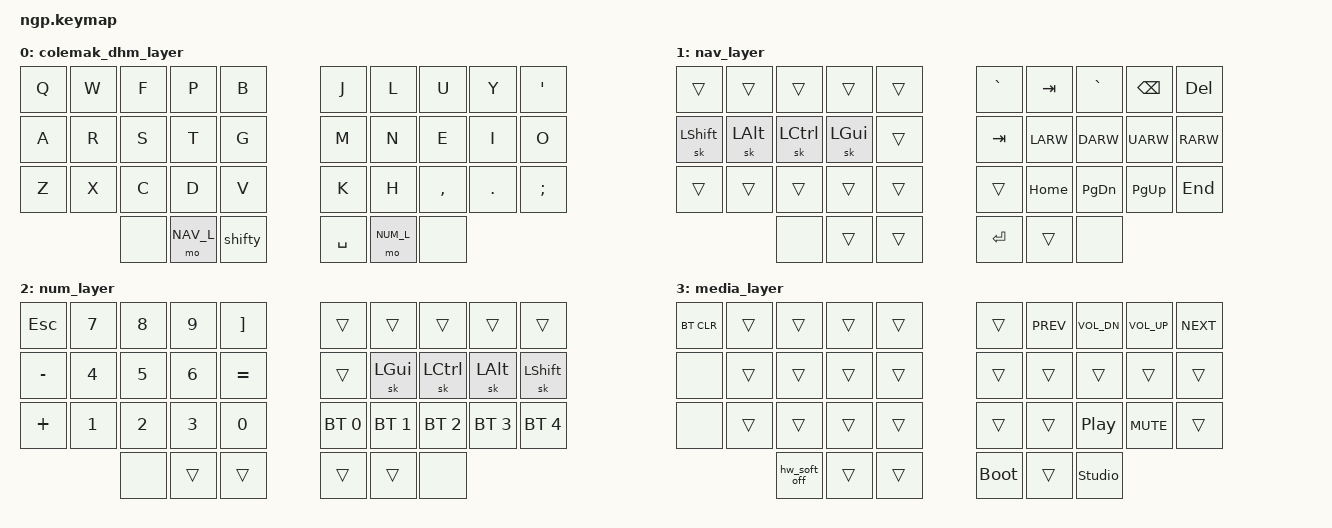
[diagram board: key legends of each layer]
#include <behaviors.dtsi>
#include <dt-bindings/zmk/keys.h>
#include <dt-bindings/zmk/bt.h>
#include <dt-bindings/zmk/backlight.h>

#define NAV_L 1
#define NUM_L 2
#define MED_L 3
#define FUN_L 4

/ {
    behaviors {
        hw_soft_off: hw_soft_off {
            compatible = "zmk,behavior-soft-off";
            #binding-cells = <0>;
            hold-time-ms = <5000>;
        };
    };
    tap_dances {
    	shifty: shift_caps_word {
		compatible = "zmk,behavior-tap-dance";
		#binding-cells = <0>;
		tapping-term-ms = <150>;
		bindings = <&kp LSHFT>, <&caps_word>;
	};
    };

    cond_layers {
        compatible = "zmk,conditional-layers";
	tri {
	    if-layers = <NUM_L NAV_L>;
	    then-layer = <MED_L>;
        };
    };

    combos {
        compatible = "zmk,combos";

	l_curly_bracket {
	    timeout-ms = <50>;
            key-positions = <2 14>;
            bindings = <&kp LS(LBKT)>;
	    layers = <NUM_L>;
	};

	r_curly_bracket {
	    timeout-ms = <50>;
            key-positions = <4 16>;
            bindings = <&kp LS(RBKT)>;
	    layers = <NUM_L>;
	};

	lbracket {
	    timeout-ms = <50>;
            key-positions = <14 26>;
            bindings = <&kp LBKT>;
	    layers = <NUM_L>;
	};

	rbracket {
	    timeout-ms = <50>;
            key-positions = <16 28>;
            bindings = <&kp RBKT>;
	    layers = <NUM_L>;
	};

	ques_mark_combo {
	    timeout-ms = <50>;
            key-positions = <21 33>;
            bindings = <&kp LS(FSLH)>;
	};

	bslash_combo {
	    timeout-ms = <50>;
            key-positions = <10 22>;
            bindings = <&kp BSLH>;
	};

	fslash_combo {
	    timeout-ms = <50>;
            key-positions = <22 34>;
            bindings = <&kp FSLH>;
	};

	bootloader_combo {
	    timeout-ms = <50>;
            key-positions = <5 6>;
            bindings = <&bootloader>;
	    layers = <MED_L>;
	};

	gui_combo {
	    timeout-ms = <50>;
            key-positions = <16 19>;
            bindings = <&kp LGUI>;
	    layers = <MED_L>;
	};
    };

    keymap {
        compatible = "zmk,keymap";

        colemak_dhm_layer {
            bindings = <
        &kp Q      &kp W      &kp F       &kp P          &kp B         &kp J            &kp L          &kp U       &kp Y      &kp QUOT
        &kp A      &kp R      &kp S       &kp T          &kp G         &kp M            &kp N          &kp E       &kp I      &kp O   
        &kp Z      &kp X      &kp C       &kp D          &kp V         &kp K            &kp H          &kp COMMA   &kp DOT    &kp SEMI     
                              &none       &mo NAV_L      &shifty      &kp SPACE        &mo NUM_L &none
            >;
        };

        nav_layer {
            bindings = <
        &trans     &trans     &trans      &trans          &trans       &kp GRAVE        &kp TAB        &kp GRAVE   &kp BKSP   &kp DEL
        &sk LSHFT  &sk LALT   &sk LCTRL   &sk LGUI        &trans       &kp TAB          &kp LARW       &kp DARW    &kp UARW   &kp RARW
        &trans     &trans     &trans      &trans          &trans       &trans           &kp HOME       &kp PG_DN   &kp PG_UP  &kp END
                              &none       &trans          &trans       &kp RET          &trans &none
            >;
        };

        num_layer {
            bindings = <
        &kp ESC   &kp N7     &kp N8      &kp N9          &kp RBKT      &trans        &trans         &trans      &trans     &trans
        &kp MINUS  &kp N4     &kp N5      &kp N6          &kp EQUAL     &trans        &sk LGUI       &sk LCTRL      &sk LALT     &sk LSHFT
        &kp PLUS  &kp N1     &kp N2      &kp N3          &kp N0        &bt BT_SEL 0  &bt BT_SEL 1   &bt BT_SEL 2 &bt BT_SEL 3 &bt BT_SEL 4
                             &none   &trans          &trans        &trans        &trans &none
            >;
        };

        media_layer {
            bindings = <
       &bt BT_CLR      &trans     &trans      &trans          &trans       &trans           &kp C_PREV     &kp C_VOL_DN     &kp C_VOL_UP &kp C_NEXT
       &none           &trans     &trans      &trans          &trans       &trans           &trans         &trans           &trans       &trans
       &none           &trans     &trans      &trans          &trans       &trans           &trans         &kp C_PLAY_PAUSE &kp C_MUTE       &trans
                                  &hw_soft_off  &trans          &trans       &bootloader           &trans &studio_unlock
            >;
        };
    };
};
